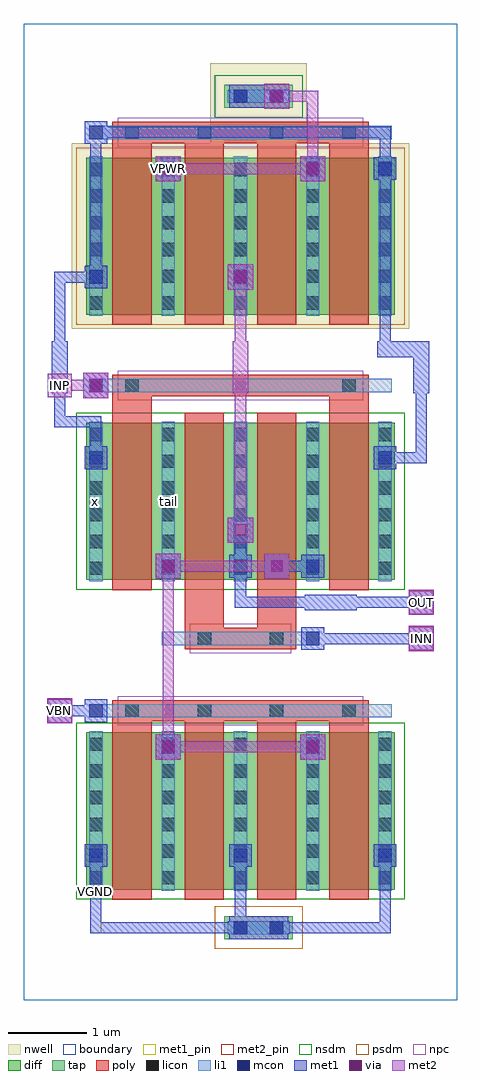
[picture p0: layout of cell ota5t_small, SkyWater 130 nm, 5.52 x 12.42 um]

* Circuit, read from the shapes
.subckt ota5t_small INN INP OUT VBN VGND VPWR tail x
XM1 tail VBN VGND VGND sky130_fd_pr__nfet_01v8 w=2 l=0.5 m=4
XM2 tail INP x VGND sky130_fd_pr__nfet_01v8 w=2 l=0.5 m=2
XM3 OUT INN tail VGND sky130_fd_pr__nfet_01v8 w=2 l=0.5 m=2
XM4 VPWR x x VPWR sky130_fd_pr__pfet_01v8 w=2 l=0.5 m=2
XM5 OUT x VPWR VPWR sky130_fd_pr__pfet_01v8 w=2 l=0.5 m=2
.ends

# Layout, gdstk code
import gdstk
lib = gdstk.Library(unit=1e-6, precision=1e-09)
def R(c, l, rs):  # rectangles x0, y0, x1, y1
    for r in rs: c.add(gdstk.rectangle(r[:2], r[2:], *l))
def A(c, l, x, y, w, h, nx, ny, dx, dy):  # array of equal rectangles
    R(c, l, [(x+i*dx, y+j*dy, x+i*dx+w, y+j*dy+h) for i in range(nx) for j in range(ny)])
nwell = (64, 20)
diff = (65, 20)
tap = (65, 44)
poly = (66, 20)
licon = (66, 44)
li1 = (67, 20)
mcon = (67, 44)
met1_pin = (68, 16)
met1 = (68, 20)
via = (68, 44)
met2_pin = (69, 16)
met2 = (69, 20)
nsdm = (93, 44)
psdm = (94, 20)
npc = (95, 20)
boundary = (235, 4)

ota5t_small = lib.new_cell('ota5t_small')
R(ota5t_small, nwell, [(0.615,8.54,4.905,10.9), (2.375,10.9,3.605,11.92)])
R(ota5t_small, diff, [(0.795,1.405,4.725,3.405), (0.795,5.345,4.725,7.345), (0.795,8.72,4.725,10.72)])
R(ota5t_small, tap, [(2.555,0.775,3.425,1.065), (2.555,11.355,3.425,11.645)])
A(ota5t_small, poly, 1.13, 1.275, 0.5, 2.405, 4, 1, 0.92, 0)
A(ota5t_small, poly, 1.13, 8.59, 0.5, 2.45, 4, 1, 0.92, 0)
R(ota5t_small, poly, [(1.13,3.545,4.39,3.815), (2.05,4.465,3.47,4.735), (2.05,4.6,2.55,7.475), (2.97,4.6,3.47,7.475), (1.13,5.215,1.63,7.82), (3.89,5.215,4.39,7.82), (1.13,7.685,4.39,7.955), (1.13,10.905,4.39,11.175)])
A(ota5t_small, licon, 0.835, 1.47, 0.17, 0.17, 5, 6, 0.92, 0.34)
A(ota5t_small, licon, 1.295, 3.595, 0.17, 0.17, 4, 2, 0.92, 7.36)
A(ota5t_small, licon, 0.835, 5.41, 0.17, 0.17, 5, 6, 0.92, 0.34)
A(ota5t_small, licon, 0.835, 8.785, 0.17, 0.17, 5, 6, 0.92, 0.34)
R(ota5t_small, licon, [(2.675,0.835,2.845,1.005), (3.135,0.835,3.305,1.005), (2.215,4.515,2.385,4.685), (3.135,4.515,3.305,4.685), (1.295,7.735,1.465,7.905), (4.055,7.735,4.225,7.905), (2.675,11.415,2.845,11.585), (3.135,11.415,3.305,11.585)])
A(ota5t_small, li1, 0.835, 1.39, 0.17, 2.03, 5, 2, 0.92, 3.94)
A(ota5t_small, li1, 0.835, 8.705, 0.17, 2.03, 5, 1, 0.92, 0)
R(ota5t_small, li1, [(2.595,0.835,3.385,1.005), (0.835,3.595,4.685,3.765), (1.755,4.515,3.765,4.685), (0.835,7.735,4.685,7.905), (0.835,10.955,4.685,11.125), (2.595,11.415,3.385,11.585)])
A(ota5t_small, mcon, 0.835, 1.755, 0.17, 0.17, 3, 1, 1.84, 0)
A(ota5t_small, mcon, 1.755, 5.435, 0.17, 0.17, 3, 1, 0.92, 0)
R(ota5t_small, mcon, [(2.675,0.835,2.845,1.005), (3.135,0.835,3.305,1.005), (1.755,3.135,1.925,3.305), (3.595,3.135,3.765,3.305), (0.835,3.595,1.005,3.765), (3.595,4.515,3.765,4.685), (0.835,6.815,1.005,6.985), (4.515,6.815,4.685,6.985), (0.835,7.735,1.005,7.905), (0.835,9.115,1.005,9.285), (2.675,9.115,2.845,9.285), (1.755,10.495,1.925,10.665), (3.595,10.495,3.765,10.665), (4.515,10.495,4.685,10.665), (0.835,10.955,1.005,11.125), (2.675,11.415,2.845,11.585), (3.135,11.415,3.305,11.585)])
R(ota5t_small, met1_pin, [(0.85,0.85,0.99,1.91), (1.695,10.435,1.985,10.725)])
A(ota5t_small, met1, 0.85, 0.85, 0.14, 1.06, 3, 1, 1.84, 0)
A(ota5t_small, met1, 0.775, 1.695, 0.29, 0.29, 3, 1, 1.84, 0)
A(ota5t_small, met1, 1.695, 5.375, 0.29, 0.29, 3, 1, 0.92, 0)
R(ota5t_small, met1, [(2.615,0.775,3.365,1.065), (0.85,0.85,2.83,0.99), (2.69,0.85,2.83,0.99), (2.69,0.85,4.67,0.99), (1.68,3.06,2,3.38), (3.52,3.06,3.84,3.38), (1.695,3.075,1.985,3.365), (3.535,3.075,3.825,3.365), (0.3,3.52,0.62,3.84), (0.775,3.535,1.065,3.825), (0.39,3.61,0.99,3.75), (4.9,4.44,5.22,4.76), (3.535,4.455,3.825,4.745), (3.61,4.53,5.13,4.67), (4.9,4.9,5.22,5.22), (3.58,4.96,4.24,5.16), (2.69,4.99,2.83,5.59), (2.69,4.99,3.75,5.13), (4.07,4.99,5.13,5.13), (1.68,5.36,2,5.68), (3.06,5.36,3.38,5.68), (2.69,5.45,2.83,6.05), (3.15,5.45,3.75,5.59), (2.6,5.82,2.92,6.14), (0.775,6.755,1.065,7.045), (4.455,6.755,4.745,7.045), (0.85,6.83,0.99,7.43), (4.53,6.83,5.13,6.97), (4.99,6.83,5.13,7.89), (0.39,7.29,0.99,7.43), (0.39,7.29,0.53,7.89), (0.76,7.66,1.08,7.98), (0.775,7.675,1.065,7.965), (0.36,7.72,0.56,8.38), (4.96,7.72,5.16,8.38), (4.5,8.18,5.16,8.38), (0.39,8.21,0.53,9.27), (4.53,8.21,4.67,10.65), (2.6,9.04,2.92,9.36), (0.775,9.055,1.065,9.345), (2.615,9.055,2.905,9.345), (0.39,9.13,0.99,9.27), (0.85,9.13,0.99,11.11), (1.68,10.42,2,10.74), (3.52,10.42,3.84,10.74), (1.695,10.435,1.985,10.725), (3.535,10.435,3.825,10.725), (4.455,10.435,4.745,10.725), (4.53,10.51,4.67,11.11), (0.775,10.895,1.065,11.185), (0.85,10.97,4.67,11.11), (3.06,11.34,3.38,11.66), (2.615,11.355,3.365,11.645), (3.15,11.43,3.29,11.57)])
R(ota5t_small, via, [(1.765,3.145,1.915,3.295), (3.605,3.145,3.755,3.295), (0.385,3.605,0.535,3.755), (4.985,4.525,5.135,4.675), (4.985,4.985,5.135,5.135), (1.765,5.445,1.915,5.595), (3.145,5.445,3.295,5.595), (2.685,5.905,2.835,6.055), (0.845,7.745,0.995,7.895), (2.685,9.125,2.835,9.275), (1.765,10.505,1.915,10.655), (3.605,10.505,3.755,10.655), (3.145,11.425,3.295,11.575)])
R(ota5t_small, met2_pin, [(0.31,3.53,0.61,3.83), (4.91,4.45,5.21,4.75), (4.91,4.91,5.21,5.21), (0.31,7.67,0.61,7.97)])
R(ota5t_small, met2, [(1.68,3.06,2,3.38), (3.52,3.06,3.84,3.38), (1.77,3.15,1.91,5.59), (1.77,3.15,3.75,3.29), (0.3,3.52,0.62,3.84), (0.31,3.53,0.61,3.83), (0.39,3.61,0.53,3.75), (4.9,4.44,5.22,4.76), (4.91,4.45,5.21,4.75), (4.99,4.53,5.13,4.67), (4.9,4.9,5.22,5.22), (4.91,4.91,5.21,5.21), (4.99,4.99,5.13,5.13), (1.68,5.36,2,5.68), (3.06,5.36,3.38,5.68), (1.77,5.45,3.29,5.59), (2.6,5.82,2.92,6.14), (2.69,5.91,2.83,7.89), (0.76,7.66,1.08,7.98), (0.31,7.67,0.61,7.97), (2.66,7.72,2.86,8.38), (0.39,7.75,0.53,7.89), (0.39,7.75,0.99,7.89), (2.69,8.21,2.83,9.27), (2.6,9.04,2.92,9.36), (1.68,10.42,2,10.74), (3.52,10.42,3.84,10.74), (1.77,10.51,3.75,10.65), (3.61,10.51,3.75,11.57), (3.06,11.34,3.38,11.66), (3.15,11.43,3.75,11.57)])
R(ota5t_small, nsdm, [(0.67,1.28,4.85,3.53), (0.67,5.22,4.85,7.47), (2.43,11.23,3.55,11.77)])
R(ota5t_small, psdm, [(2.43,0.65,3.55,1.19), (0.67,8.595,4.85,10.845)])
R(ota5t_small, npc, [(1.195,3.495,4.325,3.865), (2.115,4.415,3.405,4.785), (1.195,7.635,4.325,8.005), (1.195,10.855,4.325,11.225)])
R(ota5t_small, boundary, [(0,0,5.52,12.42)])
ota5t_small.add(gdstk.Label('x', (0.92,6.345), layer=67, texttype=5))
ota5t_small.add(gdstk.Label('tail', (1.84,6.345), layer=67, texttype=5))
ota5t_small.add(gdstk.Label('VPWR', (1.84,10.58), layer=68, texttype=5))
ota5t_small.add(gdstk.Label('VGND', (0.92,1.38), layer=68, texttype=5))
ota5t_small.add(gdstk.Label('INP', (0.46,7.82), layer=69, texttype=5))
ota5t_small.add(gdstk.Label('INN', (5.06,4.6), layer=69, texttype=5))
ota5t_small.add(gdstk.Label('VBN', (0.46,3.68), layer=69, texttype=5))
ota5t_small.add(gdstk.Label('OUT', (5.06,5.06), layer=69, texttype=5))
ota5t_small.add(gdstk.Label('VPWR', (1.84,10.58), layer=68, texttype=16))
ota5t_small.add(gdstk.Label('VGND', (0.92,1.38), layer=68, texttype=16))
ota5t_small.add(gdstk.Label('INP', (0.46,7.82), layer=69, texttype=16))
ota5t_small.add(gdstk.Label('INN', (5.06,4.6), layer=69, texttype=16))
ota5t_small.add(gdstk.Label('VBN', (0.46,3.68), layer=69, texttype=16))
ota5t_small.add(gdstk.Label('OUT', (5.06,5.06), layer=69, texttype=16))

lib.write_gds('ota5t_small.gds')
